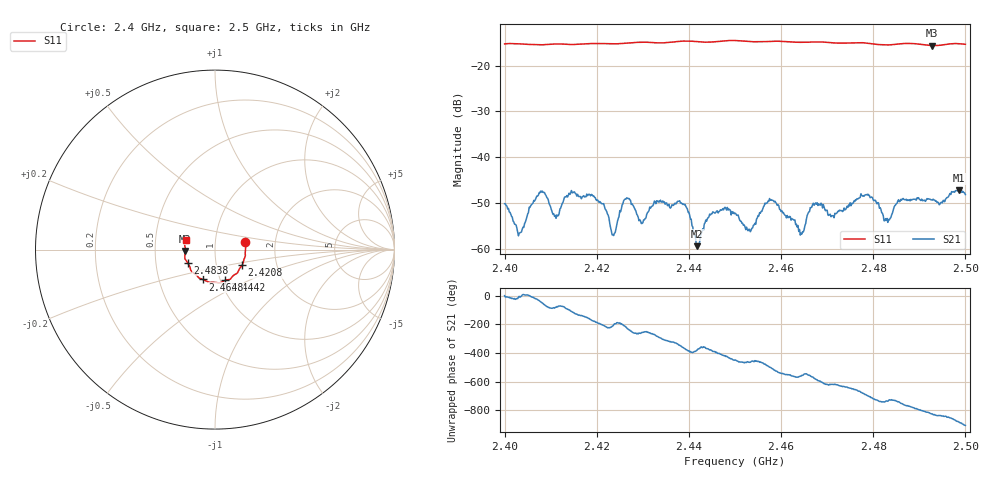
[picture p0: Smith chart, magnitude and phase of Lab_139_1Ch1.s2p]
# Hz S RI R 50
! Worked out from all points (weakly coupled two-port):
!   601 points, 2.4 GHz to 2.5 GHz, reference 50 ohm
!   highest |S21| = -47.21 dB at 2.4987 GHz (marker M1); lowest = -59.4 dB at 2.4417 GHz (marker M2)
!   lowest |S11| = -15.6 dB at 2.4927 GHz (marker M3), VSWR 1.40, Z = 35.8 - j0.516 ohm
!   |S11| at or under -10 dB: start of sweep to end of sweep
!   S12 and S22 are empty: the file has one direction only
!   S11 on the Smith chart (normalised r, x): 2.4 GHz: 1.40, +0.12; 2.4208 GHz: 1.33, -0.24; 2.4442 GHz: 1.05, -0.37; 2.4648 GHz: 0.83, -0.28; 2.4838 GHz: 0.73, -0.11; 2.5 GHz: 0.72, +0.08
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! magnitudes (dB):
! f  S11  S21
! 2.4 GHz  -15.3  -50.1
! 2.4033 GHz  -15.2  -56.5
! 2.4078 GHz  -15.4  -47.4
! 2.4112 GHz  -15.3  -53.3
! 2.4167 GHz  -15.3  -49.1
! 2.4208 GHz  -15.2  -49.9
! 2.4237 GHz  -15.2  -57.1
! 2.4263 GHz  -15.1  -49.1
! 2.4333 GHz  -15.0  -49.8
! 2.4392 GHz  -14.6  -50.3
! 2.4417 GHz  -14.7  -59.4
! 2.4442 GHz  -14.9  -53.2
! 2.45 GHz  -14.5  -52.2
! 2.4533 GHz  -14.7  -56.3
! 2.458 GHz  -14.7  -49.4
! 2.4648 GHz  -14.9  -56.3
! 2.4667 GHz  -14.8  -50.9
! 2.4833 GHz  -15.5  -53.6
! 2.4838 GHz  -15.4  -53.2
! 2.4927 GHz  -15.6  -49.3
! 2.4987 GHz  -15.2  -47.2
! 2.5 GHz  -15.3  -48.1
